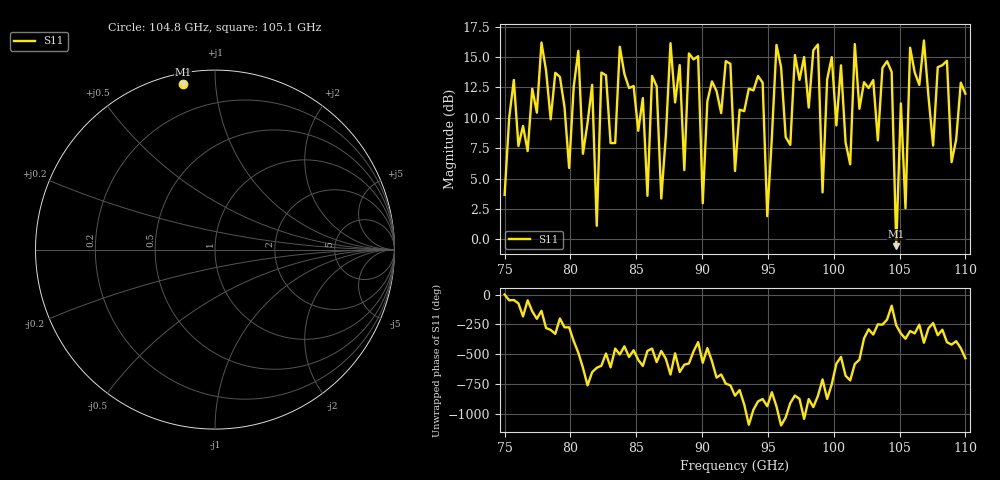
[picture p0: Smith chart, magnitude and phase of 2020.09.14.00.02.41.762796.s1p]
!Created with skrf (http://scikit-rf.org).
# GHz S RI R 50.0
!freq ReS11 ImS11
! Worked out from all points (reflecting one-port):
!   101 points, 75 GHz to 110 GHz, reference 50 ohm
!   lowest |S11| = -0.6 dB at 104.8 GHz (marker M1), VSWR 31.31, Z = 2.68 + j41.2 ohm
!   phase of S11 starts at 1 deg and turns -536 deg over the sweep
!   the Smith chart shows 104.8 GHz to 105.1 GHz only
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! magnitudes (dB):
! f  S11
! 75 GHz  3.7
! 75.7 GHz  13.1
! 79.55 GHz  10.9
! 81.65 GHz  12.7
! 82 GHz  1.1
! 82.35 GHz  13.7
! 83.75 GHz  15.9
! 85.85 GHz  3.6
! 86.2 GHz  13.5
! 86.9 GHz  3.4
! 88.3 GHz  14.3
! 88.65 GHz  5.7
! 89.7 GHz  15.1
! 90.05 GHz  3.0
! 92.15 GHz  14.4
! 92.5 GHz  5.6
! 94.25 GHz  13.4
! 94.95 GHz  1.9
! 95.65 GHz  16.0
! 97.05 GHz  15.2
! 101.2 GHz  6.2
! 101.6 GHz  16.1
! 104 GHz  14.7
! 104.8 GHz  -0.6
! 105.1 GHz  11.2
! 105.5 GHz  2.6
! 105.8 GHz  15.8
! 110 GHz  12.0
